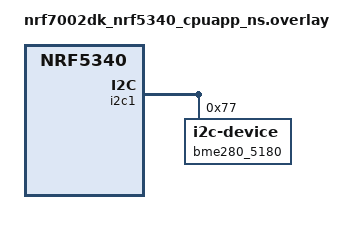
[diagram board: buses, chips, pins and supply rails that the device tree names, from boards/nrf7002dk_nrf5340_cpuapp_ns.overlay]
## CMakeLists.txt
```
# SPDX-License-Identifier: Apache-2.0

cmake_minimum_required(VERSION 3.20.0)
find_package(Zephyr REQUIRED HINTS $ENV{ZEPHYR_BASE})
project(blinky)

target_sources(app PRIVATE
	src/main.c
	src/bme280_direct.c
	src/bme280_temperature.c
)

target_sources_ifdef(CONFIG_SUM_PRINT app PRIVATE sum_printk/sum_printk.c)
target_sources_ifdef(CONFIG_SUM_LOG app PRIVATE sum_log/sum_log.c)

target_include_directories(app PRIVATE
	${CMAKE_CURRENT_SOURCE_DIR}/sum_printk
	${CMAKE_CURRENT_SOURCE_DIR}/sum_log
)
```

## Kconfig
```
# SPDX-License-Identifier: Apache-2.0

source "Kconfig.zephyr"

choice SUM_IMPLEMENTATION
	prompt "Sum output implementation"
	default SUM_PRINT

config SUM_PRINT
	bool "Use printk for sum output"

config SUM_LOG
	bool "Use Logger for sum output"

endchoice
```

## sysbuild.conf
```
# SPDX-FileCopyrightText: Copyright The Zephyr Project Contributors
# SPDX-License-Identifier: Apache-2.0

# Populate the bootloader partition used by the non-secure board target.
SB_CONFIG_BOOTLOADER_MCUBOOT=y
```

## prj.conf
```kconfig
CONFIG_GPIO=y
CONFIG_CONSOLE=y
CONFIG_UART_CONSOLE=y
CONFIG_LOG=y
CONFIG_LOG_DEFAULT_LEVEL=3
CONFIG_SENSOR=y
CONFIG_I2C=y

# UART1 and I2C1 share hardware on the nRF5340. Use UART0 for TF-M logging.
CONFIG_TFM_SECURE_UART=y
CONFIG_TFM_SECURE_UART0=y

CONFIG_SUM_PRINT=y
```

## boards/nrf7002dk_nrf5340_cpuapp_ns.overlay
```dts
/*
 * SPDX-FileCopyrightText: Copyright The Zephyr Project Contributors
 * SPDX-License-Identifier: Apache-2.0
 */

/ {
	aliases {
		led5180 = &led1;
		button5180 = &button0;
	};
};

&i2c1 {
	status = "okay";
	pinctrl-0 = <&i2c1_default>;
	pinctrl-1 = <&i2c1_sleep>;
	pinctrl-names = "default", "sleep";

	bme280_5180: bme280@77 {
		compatible = "i2c-device";
		status = "okay";
		reg = <0x77>;
	};
};

&pinctrl {
	i2c1_default {
		group1 {
			psels = <NRF_PSEL(TWIM_SCL, 1, 14)>,
				<NRF_PSEL(TWIM_SDA, 1, 15)>;
			bias-pull-up;
		};
	};

	i2c1_sleep {
		group1 {
			psels = <NRF_PSEL(TWIM_SCL, 1, 14)>,
				<NRF_PSEL(TWIM_SDA, 1, 15)>;
			low-power-enable;
		};
	};
};
```

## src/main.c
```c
/*
 * Copyright (c) 2016 Intel Corporation
 *
 * SPDX-License-Identifier: Apache-2.0
 */

#include <stdio.h>
#include <zephyr/kernel.h>
#include <zephyr/drivers/gpio.h>
#include <zephyr/logging/log.h>

#include "bme280_direct.h"

#if defined(CONFIG_SUM_PRINT)
#include "sum_printk.h"
#elif defined(CONFIG_SUM_LOG)
#include "sum_log.h"
#endif

#define POLL_TIME_MS              20
#define TEMPERATURE_PRINT_TIME_MS 2000

LOG_MODULE_REGISTER(blinky, LOG_LEVEL_INF);

#define LED5180_NODE    DT_ALIAS(led5180)
#define BUTTON5180_NODE DT_ALIAS(button5180)

/*
 * A build error on this line means your board is unsupported.
 * See the sample documentation for information on how to fix this.
 */
static const struct gpio_dt_spec led = GPIO_DT_SPEC_GET(LED5180_NODE, gpios);
static const struct gpio_dt_spec button = GPIO_DT_SPEC_GET(BUTTON5180_NODE, gpios);

static void run_sum_demo(void)
{
	int result;

#if defined(CONFIG_SUM_PRINT)
	result = sum_printk(7, 5);
#elif defined(CONFIG_SUM_LOG)
	result = sum_log(7, 5);
#endif

	(void)result;
}

int main(void)
{
	int ret;
	int button_state;
	int32_t temperature_centi_c;
	int32_t temperature_fraction;
	int64_t next_temperature_time = 0;
	bool button_was_pressed = false;
	bool led_state = false;
	bool bme280_ready;

	if ((gpio_is_ready_dt(&led) == false) || (gpio_is_ready_dt(&button) == false)) {
		return 0;
	}

	ret = gpio_pin_configure_dt(&led, GPIO_OUTPUT_INACTIVE);
	if (ret < 0) {
		return 0;
	}

	ret = gpio_pin_configure_dt(&button, GPIO_INPUT);
	if (ret < 0) {
		return 0;
	}

	run_sum_demo();
	printf("Press Button 1 to toggle LED 2\n");
	bme280_ready = bme280_direct_init() == 0;

	while (1) {
		button_state = gpio_pin_get_dt(&button);
		if (button_state < 0) {
			return 0;
		}

		if ((button_state > 0) && (button_was_pressed == false)) {
			ret = gpio_pin_toggle_dt(&led);
			if (ret < 0) {
				return 0;
			}

			led_state = !led_state;
			printf("LED 2: %s\n", led_state ? "ON" : "OFF");
		}

		button_was_pressed = button_state > 0;

		if (bme280_ready && (k_uptime_get() >= next_temperature_time)) {
			ret = bme280_direct_read_temperature(&temperature_centi_c);
			if (ret < 0) {
				LOG_ERR("Could not read temperature: %d", ret);
			} else {
				temperature_fraction = temperature_centi_c % 100;
				if (temperature_fraction < 0) {
					temperature_fraction = -temperature_fraction;
				}

				if (temperature_centi_c < 0) {
					LOG_INF("Temperature: -%d.%02d C",
						-temperature_centi_c / 100, temperature_fraction);
				} else {
					LOG_INF("Temperature: %d.%02d C", temperature_centi_c / 100,
						temperature_fraction);
				}
			}

			next_temperature_time = k_uptime_get() + TEMPERATURE_PRINT_TIME_MS;
		}

		k_msleep(POLL_TIME_MS);
	}
	return 0;
}
```

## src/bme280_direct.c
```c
/*
 * SPDX-FileCopyrightText: Copyright The Zephyr Project Contributors
 * SPDX-License-Identifier: Apache-2.0
 */

#include <errno.h>
#include <stdint.h>
#include <zephyr/device.h>
#include <zephyr/devicetree.h>
#include <zephyr/drivers/i2c.h>
#include <zephyr/kernel.h>
#include <zephyr/logging/log.h>
#include <zephyr/sys/byteorder.h>

#include "bme280_direct.h"
#include "bme280_temperature.h"

LOG_MODULE_REGISTER(bme280_direct, LOG_LEVEL_INF);

#define BME280_NODE            DT_NODELABEL(bme280_5180)
#define BME280_CHIP_ID_REG     0xD0
#define BME280_CHIP_ID         0x60
#define BME280_CALIBRATION_REG 0x88
#define BME280_CTRL_MEAS_REG   0xF4
#define BME280_TEMP_MSB_REG    0xFA
#define BME280_CTRL_MEAS_VALUE 0x23

BUILD_ASSERT(DT_NODE_EXISTS(BME280_NODE), "The bme280_5180 devicetree node is missing");
BUILD_ASSERT(DT_REG_ADDR(BME280_NODE) == 0x77, "The BME280 I2C address must be 0x77");

static const struct i2c_dt_spec bme280_i2c = I2C_DT_SPEC_GET(BME280_NODE);
static struct bme280_temperature_calibration temperature_calibration;

static int bme280_read_register(uint8_t register_address, uint8_t *value)
{
	return i2c_write_read_dt(&bme280_i2c, &register_address, sizeof(register_address), value,
				 1);
}

int bme280_direct_init(void)
{
	uint8_t chip_id;
	uint8_t calibration_data[6];
	uint8_t ctrl_meas_data[2] = {
		BME280_CTRL_MEAS_REG,
		BME280_CTRL_MEAS_VALUE,
	};
	int ret;

	if (device_is_ready(bme280_i2c.bus) == false) {
		LOG_ERR("I2C bus is not ready");
		return -ENODEV;
	}

	ret = bme280_read_register(BME280_CHIP_ID_REG, &chip_id);
	if (ret < 0) {
		LOG_ERR("Could not read BME280 chip ID: %d", ret);
		return ret;
	}

	if (chip_id != BME280_CHIP_ID) {
		LOG_ERR("Unexpected BME280 chip ID: 0x%02x", chip_id);
		return -ENODEV;
	}

	ret = i2c_burst_read_dt(&bme280_i2c, BME280_CALIBRATION_REG, calibration_data,
				sizeof(calibration_data));
	if (ret < 0) {
		LOG_ERR("Could not read temperature calibration: %d", ret);
		return ret;
	}

	temperature_calibration.dig_t1 = sys_get_le16(&calibration_data[0]);
	temperature_calibration.dig_t2 = (int16_t)sys_get_le16(&calibration_data[2]);
	temperature_calibration.dig_t3 = (int16_t)sys_get_le16(&calibration_data[4]);

	ret = i2c_write_dt(&bme280_i2c, ctrl_meas_data, sizeof(ctrl_meas_data));
	if (ret < 0) {
		LOG_ERR("Could not configure BME280: %d", ret);
		return ret;
	}

	k_msleep(10);
	LOG_INF("BME280 found at I2C address 0x%02x", bme280_i2c.addr);
	return 0;
}

int bme280_direct_read_temperature(int32_t *temperature_centi_c)
{
	uint8_t raw_data[3];
	int32_t raw_temperature;
	int ret;

	if (temperature_centi_c == NULL) {
		return -EINVAL;
	}

	ret = i2c_burst_read_dt(&bme280_i2c, BME280_TEMP_MSB_REG, raw_data, sizeof(raw_data));
	if (ret < 0) {
		return ret;
	}

	raw_temperature = ((int32_t)raw_data[0] << 12) | ((int32_t)raw_data[1] << 4) |
			  ((int32_t)raw_data[2] >> 4);
	*temperature_centi_c =
		bme280_compensate_temperature(&temperature_calibration, raw_temperature);

	if (bme280_temperature_is_sane(*temperature_centi_c) == false) {
		return -ERANGE;
	}

	return 0;
}
```

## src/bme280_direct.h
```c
/*
 * SPDX-FileCopyrightText: Copyright The Zephyr Project Contributors
 * SPDX-License-Identifier: Apache-2.0
 */

#ifndef BME280_DIRECT_H_
#define BME280_DIRECT_H_

#include <stdint.h>

int bme280_direct_init(void);
int bme280_direct_read_temperature(int32_t *temperature_centi_c);

#endif
```

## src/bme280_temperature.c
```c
/*
 * SPDX-FileCopyrightText: Copyright The Zephyr Project Contributors
 * SPDX-License-Identifier: Apache-2.0
 */

#include <stdbool.h>
#include <stdint.h>

#include "bme280_temperature.h"

int32_t bme280_compensate_temperature(const struct bme280_temperature_calibration *calibration,
				      int32_t raw_temperature)
{
	int32_t var1;
	int32_t var2;
	int32_t t_fine;

	var1 = (((raw_temperature >> 3) - ((int32_t)calibration->dig_t1 << 1)) *
		(int32_t)calibration->dig_t2) >>
	       11;
	var2 = (((((raw_temperature >> 4) - (int32_t)calibration->dig_t1) *
		  ((raw_temperature >> 4) - (int32_t)calibration->dig_t1)) >>
		 12) *
		(int32_t)calibration->dig_t3) >>
	       14;

	t_fine = var1 + var2;
	return (t_fine * 5 + 128) >> 8;
}

bool bme280_temperature_is_sane(int32_t temperature_centi_c)
{
	return (temperature_centi_c >= -4000) && (temperature_centi_c <= 8500);
}
```

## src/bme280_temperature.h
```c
/*
 * SPDX-FileCopyrightText: Copyright The Zephyr Project Contributors
 * SPDX-License-Identifier: Apache-2.0
 */

#ifndef BME280_TEMPERATURE_H_
#define BME280_TEMPERATURE_H_

#include <stdbool.h>
#include <stdint.h>

struct bme280_temperature_calibration {
	uint16_t dig_t1;
	int16_t dig_t2;
	int16_t dig_t3;
};

int32_t bme280_compensate_temperature(const struct bme280_temperature_calibration *calibration,
				      int32_t raw_temperature);

bool bme280_temperature_is_sane(int32_t temperature_centi_c);

#endif
```
